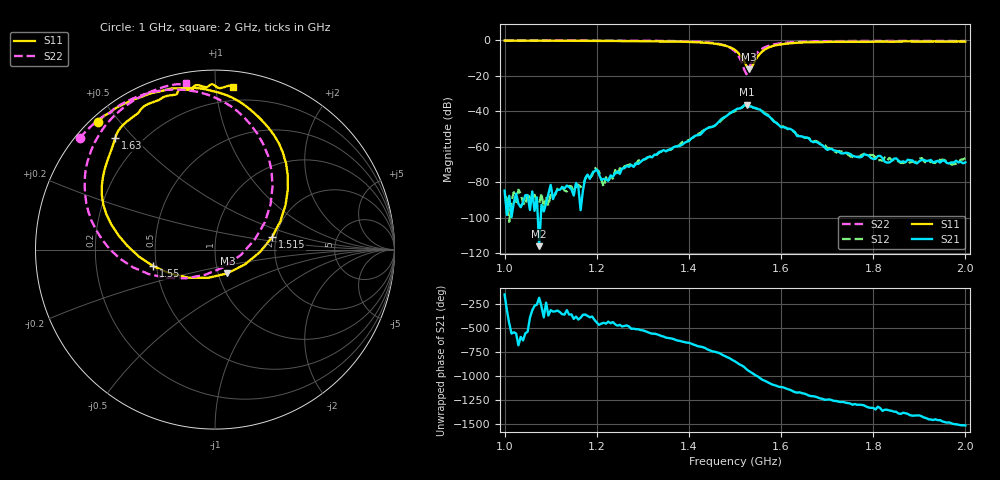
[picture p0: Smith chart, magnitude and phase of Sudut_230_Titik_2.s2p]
# Hz S RI R 50
! CMT, C1220, 16058040, 17.2.0/1
! Date: 14/08/2018 12:48:23
! Data: Format (Calibration Info)
! Freq  S11: Re/Im (F2)  S21: Re/Im (F2)  S12: Re/Im (F2)  S22: Re/Im (F2)
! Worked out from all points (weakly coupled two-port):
!   201 points, 1 GHz to 2 GHz, reference 50 ohm
!   highest |S21| = -36.40 dB at 1.525 GHz (marker M1); lowest = -116.0 dB at 1.075 GHz (marker M2)
!   lowest |S11| = -16.5 dB at 1.53 GHz (marker M3), VSWR 1.35, Z = 55.3 - j15 ohm
!   |S11| at or under -10 dB: 1.516 GHz to 1.547 GHz (31.87 MHz wide, 2.08 % of centre)
!   |S22| runs from -19.2 to -0.2 dB; largest |S21 - S12| = 0.00065
!   S11 on the Smith chart (normalised r, x): 1 GHz: 0.02, +0.44; 1.515 GHz: 1.90, +0.29; 1.55 GHz: 0.48, -0.10; 1.63 GHz: 0.11, +0.44; 2 GHz: 0.10, +1.11
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1e9  -0.6519 0.7133  -5.08e-05 -2.8e-05  -4.16e-05 -9.54e-07  -0.7539 0.6215
1.075e9  -0.5731 0.7716  -1.58e-06 1.3e-07  9.58e-06 2.24e-05  -0.7008 0.6771
1.17e9  -0.4817 0.8239  5.89e-05 -1.66e-06  8.48e-05 1.73e-05  -0.6182 0.7468
1.195e9  -0.445 0.8394  0.000119 -0.000164  0.000106 -0.000241  -0.5896 0.7598
1.225e9  -0.4091 0.8509  3.32e-05 -0.000105  3.39e-05 -9.94e-05  -0.5688 0.7791
1.24e9  -0.3808 0.8621  -3.34e-05 -0.000176  -6.18e-06 -0.000221  -0.5514 0.7919
1.245e9  -0.3719 0.8658  -8.39e-05 -0.000182  -0.000111 -0.000104  -0.5452 0.7958
1.25e9  -0.3641 0.869  -4.77e-05 -0.000165  -0.000105 -0.000226  -0.5387 0.8
1.335e9  -0.2195 0.8981  -0.0006 0.000373  -0.000528 0.00041  -0.4042 0.8616
1.45e9  0.1802 0.7929  0.00336 -0.00123  0.00334 -0.00146  0.0191 0.838
1.5e9  0.4057 0.3351  -0.00629 -0.0086  -0.00594 -0.00805  0.3205 0.3515
1.515e9  0.3181 0.069  -0.0124 -0.00243  -0.0124 -0.00277  0.2217 0.0565
1.525e9  0.1672 -0.0822  -0.0134 0.00706  -0.0135 0.00703  0.0523 -0.0963
1.53e9  0.0693 -0.1321  -0.0095 0.00962  -0.00963 0.00965  -0.0549 -0.1406
1.55e9  -0.3433 -0.093  0.0028 0.0111  0.00237 0.0112  -0.456 -0.0992
1.58e9  -0.6224 0.2513  0.00588 -0.000467  0.00611 -0.000727  -0.7054 0.2113
1.63e9  -0.5566 0.6214  0.000192 -0.00253  0.000306 -0.00251  -0.6947 0.5387
1.67e9  -0.4474 0.7458  -0.00081 -0.00107  -0.000838 -0.00111  -0.6278 0.6676
1.76e9  -0.2669 0.8565  -0.000463 0.000259  -0.000435 0.000235  -0.4862 0.808
1.835e9  -0.1364 0.8871  3.38e-05 0.000359  0.000129 0.000466  -0.3815 0.8694
1.97e9  0.0557 0.9068  0.000234 -0.000274  0.000167 -0.000262  -0.1919 0.9209
2e9  0.1012 0.9063  0.000115 -0.000344  9.76e-05 -0.000469  -0.1597 0.9299
